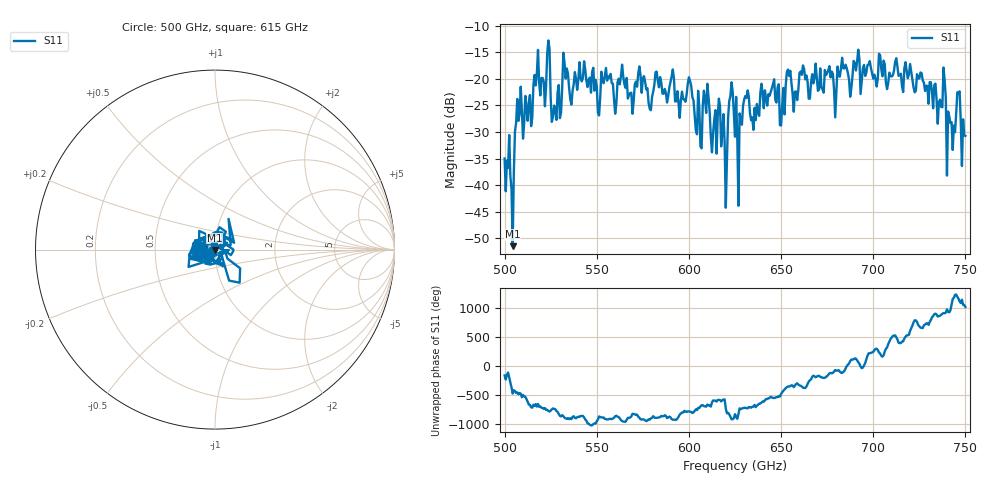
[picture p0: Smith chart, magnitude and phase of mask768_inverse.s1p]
!Created with skrf (http://scikit-rf.org).
# GHz S MA R 50.0
!freq magS11 angS11
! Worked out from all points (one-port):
!   401 points, 500 GHz to 750 GHz, reference 50 ohm
!   lowest |S11| = -51.5 dB at 504.4 GHz (marker M1), VSWR 1.01, Z = 49.9 - j0.24 ohm
!   |S11| at or under -10 dB: start of sweep to end of sweep
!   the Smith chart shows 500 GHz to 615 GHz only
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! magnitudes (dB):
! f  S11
! 500 GHz  -35.0
! 504.4 GHz  -51.5
! 507.5 GHz  -27.9
! 513.8 GHz  -23.1
! 516.9 GHz  -21.2
! 523.8 GHz  -12.8
! 526.9 GHz  -25.0
! 531.2 GHz  -21.6
! 562.5 GHz  -21.0
! 579.4 GHz  -25.9
! 590.6 GHz  -19.5
! 593.8 GHz  -22.3
! 600.6 GHz  -20.4
! 605.6 GHz  -25.4
! 609.4 GHz  -26.4
! 619.4 GHz  -31.9
! 622.5 GHz  -23.3
! 625 GHz  -30.9
! 627.5 GHz  -26.5
! 631.2 GHz  -23.6
! 635 GHz  -29.6
! 656.2 GHz  -22.8
! 687.5 GHz  -23.4
! 718.8 GHz  -19.9
! 738.1 GHz  -17.9
! 741.2 GHz  -27.1
! 746.2 GHz  -22.7
! 750 GHz  -30.7
